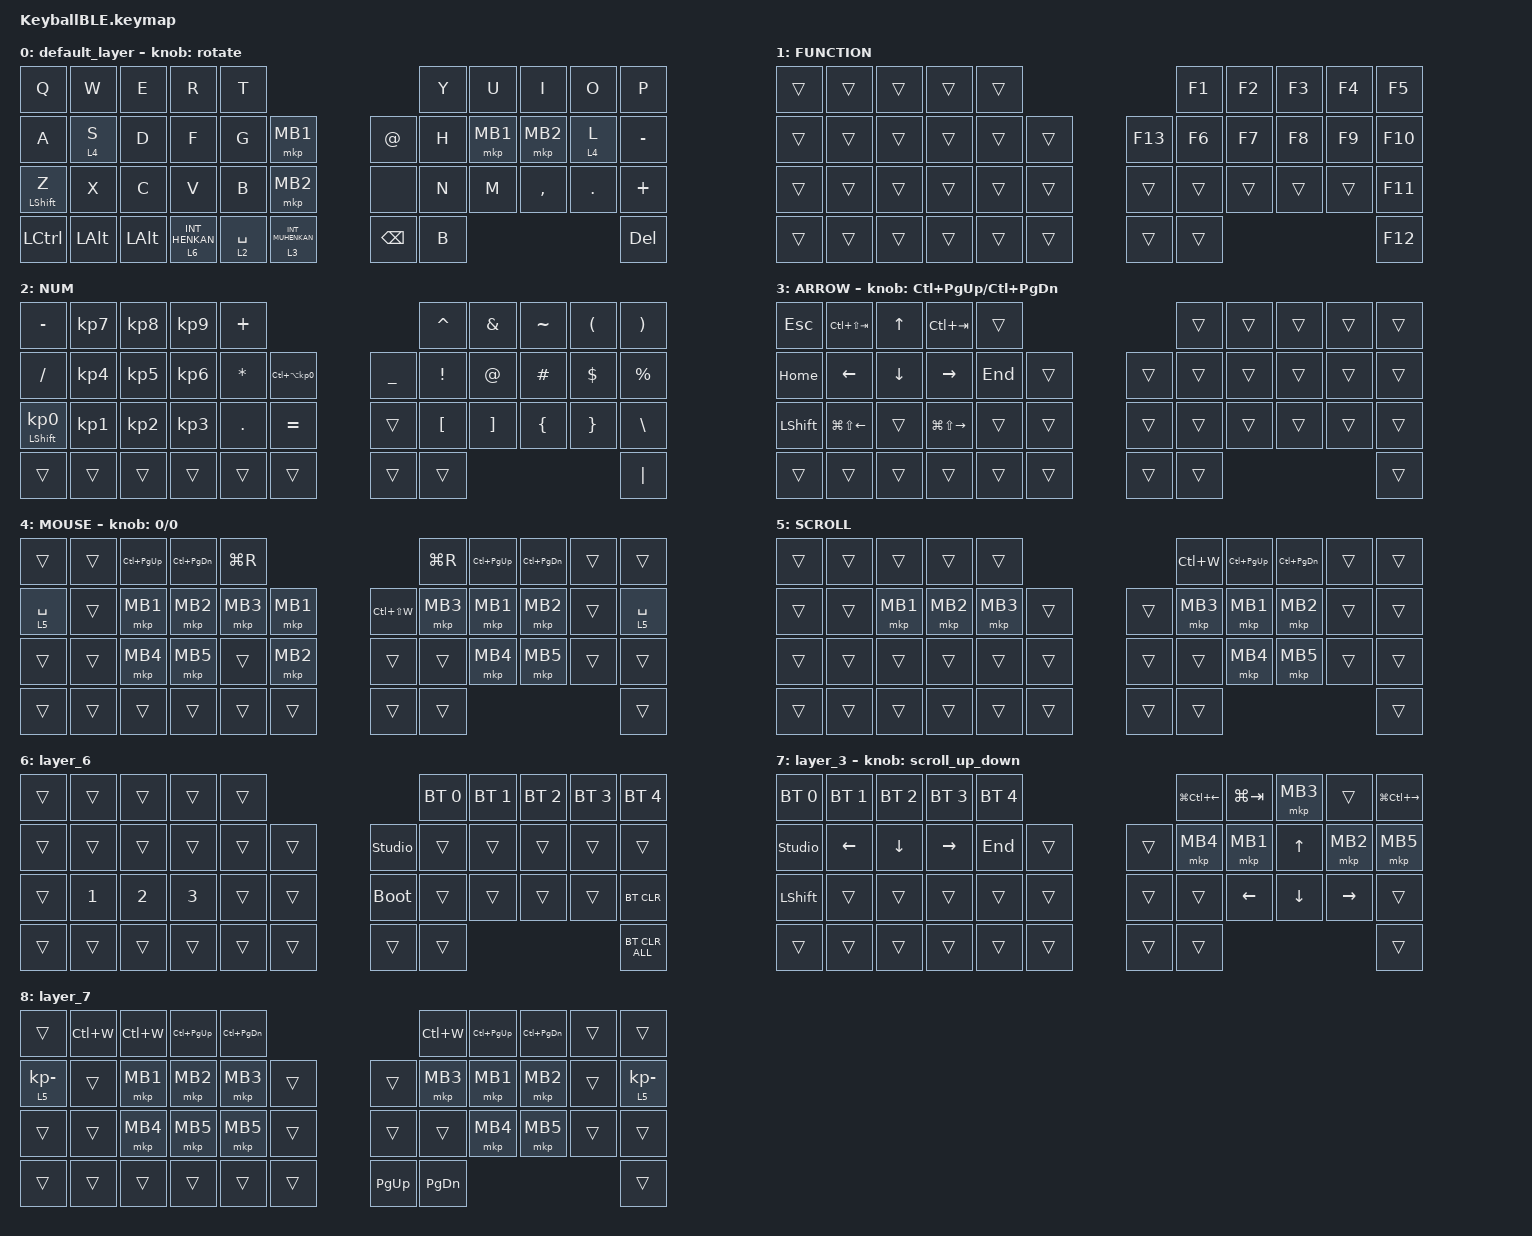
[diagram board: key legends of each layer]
#include <behaviors.dtsi>
#include <dt-bindings/zmk/bt.h>
#include <dt-bindings/zmk/keys.h>
#include <dt-bindings/zmk/pointing.h>

#define ZMK_MOUSE_DEFAULT_SCRL_VAL 25
#define MOUSE 4
#define SCROLL 5
#define NUM 6

&mt {
    flavor = "balanced";
    quick-tap-ms = <0>;
};

/ {
    combos {
        compatible = "zmk,combos";

        double_quotation {
            bindings = <&kp DOUBLE_QUOTES>;
            key-positions = <20 21>;
        };
    };

    macros {
        to_layer_0: to_layer_0 {
            compatible = "zmk,behavior-macro-one-param";
            #binding-cells = <1>;
            bindings = <&to 0 &macro_param_1to1 &kp MACRO_PLACEHOLDER>;
            label = "TO_LAYER_0";
        };
    };

    behaviors {
        lt_to_layer_0: lt_to_layer_0 {
            compatible = "zmk,behavior-hold-tap";
            label = "LAYER_TAP_TO_0";
            bindings = <&mo>, <&to_layer_0>;

            #binding-cells = <2>;
            tapping-term-ms = <200>;
        };

        rotate: rotate {
            compatible = "zmk,behavior-sensor-rotate";
            label = "ROTATE";
            #sensor-binding-cells = <0>;
            bindings = <&msc SCRL_UP>, <&msc SCRL_DOWN>;

            tap-ms = <20>;
        };
    };

    keymap {
        compatible = "zmk,keymap";

        default_layer {
            bindings = <
&kp Q             &kp W         &kp E         &kp R                        &kp T                                                          &kp Y  &kp U     &kp I      &kp O       &kp P
&kp A             &lt 4 S       &kp D         &kp F                        &kp G        &mkp MB1                           &kp AT         &kp H  &mkp MB1  &mkp MB2   &lt 4 L     &kp MINUS
&mt LEFT_SHIFT Z  &kp X         &kp C         &kp V                        &kp B        &mkp MB2                           &none          &kp N  &kp M     &kp COMMA  &kp PERIOD  &kp PLUS
&kp LCTRL         &kp LEFT_ALT  &kp LEFT_ALT  &lt_to_layer_0 6 INT_HENKAN  &lt 2 SPACE  &lt_to_layer_0 3 INT_MUHENKAN      &kp BACKSPACE  &kp B                                   &kp DEL
            >;

            sensor-bindings = <&rotate>;
        };

        FUNCTION {
            bindings = <
&trans  &trans  &trans  &trans  &trans                       &kp F1  &kp F2  &kp F3  &kp F4  &kp F5
&trans  &trans  &trans  &trans  &trans  &trans      &kp F13  &kp F6  &kp F7  &kp F8  &kp F9  &kp F10
&trans  &trans  &trans  &trans  &trans  &trans      &trans   &trans  &trans  &trans  &trans  &kp F11
&trans  &trans  &trans  &trans  &trans  &trans      &trans   &trans                          &kp F12
            >;
        };

        NUM {
            bindings = <
&kp MINUS                   &kp KP_NUMBER_7  &kp KP_NUMBER_8  &kp KP_NUMBER_9  &kp PLUS                                                   &kp CARET         &kp AMPERSAND      &kp TILDE       &kp LEFT_PARENTHESIS  &kp RIGHT_PARENTHESIS
&kp SLASH                   &kp KP_NUMBER_4  &kp KP_NUMBER_5  &kp KP_NUMBER_6  &kp ASTERISK  &kp LC(LA(KP_NUMBER_0))      &kp UNDERSCORE  &kp EXCLAMATION   &kp AT_SIGN        &kp HASH        &kp DOLLAR            &kp PERCENT
&mt LEFT_SHIFT KP_NUMBER_0  &kp KP_NUMBER_1  &kp KP_NUMBER_2  &kp KP_NUMBER_3  &kp PERIOD    &kp EQUAL                    &trans          &kp LEFT_BRACKET  &kp RIGHT_BRACKET  &kp LEFT_BRACE  &kp RIGHT_BRACE       &kp BACKSLASH
&trans                      &trans           &trans           &trans           &trans        &trans                       &trans          &trans                                                                     &kp PIPE
            >;
        };

        ARROW {
            bindings = <
&kp ESCAPE      &kp LC(LS(TAB))         &kp UP_ARROW    &kp LC(TAB)              &trans                       &trans  &trans  &trans  &trans  &trans
&kp HOME        &kp LEFT_ARROW          &kp DOWN_ARROW  &kp RIGHT_ARROW          &kp END  &trans      &trans  &trans  &trans  &trans  &trans  &trans
&kp LEFT_SHIFT  &kp LG(LS(LEFT_ARROW))  &trans          &kp LG(LS(RIGHT_ARROW))  &trans   &trans      &trans  &trans  &trans  &trans  &trans  &trans
&trans          &trans                  &trans          &trans                   &trans   &trans      &trans  &trans                          &trans
            >;

            sensor-bindings = <&inc_dec_kp LC(PAGE_UP) LC(PAGE_DOWN)>;
        };

        MOUSE {
            bindings = <
&trans       &trans  &kp LC(PAGE_UP)  &kp LC(PAGE_DOWN)  &kp LG(R)                               &kp LG(R)  &kp LC(PAGE_UP)  &kp LC(PAGE_DOWN)  &trans  &trans
&lt 5 SPACE  &trans  &mkp MB1         &mkp MB2           &mkp MB3   &mkp MB1      &kp LC(LS(W))  &mkp MB3   &mkp MB1         &mkp MB2           &trans  &lt 5 SPACE
&trans       &trans  &mkp MB4         &mkp MB5           &trans     &mkp MB2      &trans         &trans     &mkp MB4         &mkp MB5           &trans  &trans
&trans       &trans  &trans           &trans             &trans     &trans        &trans         &trans                                                 &trans
            >;

            sensor-bindings = <&inc_dec_kp 0 0>;
        };

        SCROLL {
            bindings = <
&trans  &trans  &trans    &trans    &trans                        &kp LC(W)  &kp LC(PAGE_UP)  &kp LC(PAGE_DOWN)  &trans  &trans
&trans  &trans  &mkp MB1  &mkp MB2  &mkp MB3  &trans      &trans  &mkp MB3   &mkp MB1         &mkp MB2           &trans  &trans
&trans  &trans  &trans    &trans    &trans    &trans      &trans  &trans     &mkp MB4         &mkp MB5           &trans  &trans
&trans  &trans  &trans    &trans    &trans    &trans      &trans  &trans                                                 &trans
            >;
        };

        layer_6 {
            bindings = <
&trans  &trans        &trans        &trans        &trans                              &bt BT_SEL 0  &bt BT_SEL 1  &bt BT_SEL 2  &bt BT_SEL 3  &bt BT_SEL 4
&trans  &trans        &trans        &trans        &trans  &trans      &studio_unlock  &trans        &trans        &trans        &trans        &trans
&trans  &kp NUMBER_1  &kp NUMBER_2  &kp NUMBER_3  &trans  &trans      &bootloader     &trans        &trans        &trans        &trans        &bt BT_CLR
&trans  &trans        &trans        &trans        &trans  &trans      &trans          &trans                                                  &bt BT_CLR_ALL
            >;
        };

        layer_3 {
            bindings = <
&bt BT_SEL 0    &bt BT_SEL 1    &bt BT_SEL 2    &bt BT_SEL 3     &bt BT_SEL 4                      &kp LG(LC(LEFT))  &kp LG(TAB)  &mkp MB3  &trans     &kp LG(LC(RIGHT))
&studio_unlock  &kp LEFT_ARROW  &kp DOWN_ARROW  &kp RIGHT_ARROW  &kp END       &trans      &trans  &mkp MB4          &mkp MB1     &kp UP    &mkp MB2   &mkp MB5
&kp LEFT_SHIFT  &trans          &trans          &trans           &trans        &trans      &trans  &trans            &kp LEFT     &kp DOWN  &kp RIGHT  &trans
&trans          &trans          &trans          &trans           &trans        &trans      &trans  &trans                                              &trans
            >;

            sensor-bindings = <&scroll_up_down>;
        };

        layer_7 {
            bindings = <
&trans                     &kp LC(W)  &kp LC(W)  &kp LC(PAGE_UP)  &kp LC(PAGE_DOWN)                           &kp LC(W)      &kp LC(PAGE_UP)  &kp LC(PAGE_DOWN)  &trans  &trans
&lt_to_layer_0 5 KP_MINUS  &trans     &mkp MB1   &mkp MB2         &mkp MB3           &trans      &trans       &mkp MB3       &mkp MB1         &mkp MB2           &trans  &lt_to_layer_0 5 KP_MINUS
&trans                     &trans     &mkp MB4   &mkp MB5         &mkp MB5           &trans      &trans       &trans         &mkp MB4         &mkp MB5           &trans  &trans
&trans                     &trans     &trans     &trans           &trans             &trans      &kp PAGE_UP  &kp PAGE_DOWN                                              &trans
            >;
        };
    };
};
